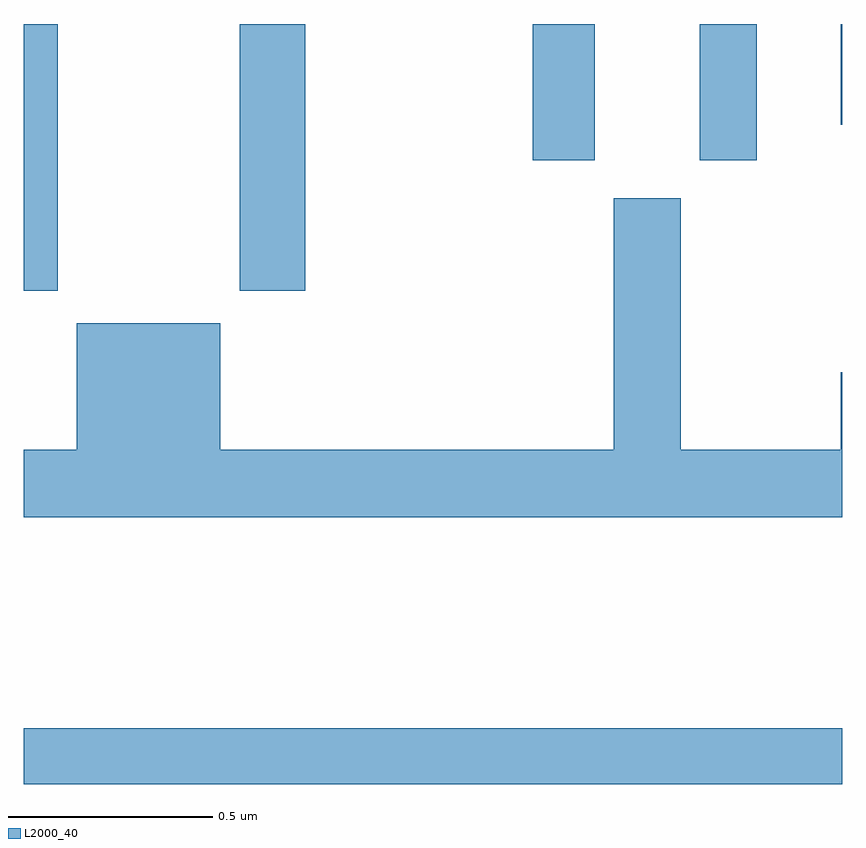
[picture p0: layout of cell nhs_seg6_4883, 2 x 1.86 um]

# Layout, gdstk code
import gdstk
lib = gdstk.Library(unit=1e-6, precision=1e-09)
def R(c, l, rs):  # rectangles x0, y0, x1, y1
    for r in rs: c.add(gdstk.rectangle(r[:2], r[2:], *l))
def P(c, l, *ps):  # polygons
    for p in ps: c.add(gdstk.Polygon(p, *l))
L2000_40 = (2000, 40)

nhs_seg6_4883 = lib.new_cell('nhs_seg6_4883')
R(nhs_seg6_4883, L2000_40, [(175,986.644,177,986.78), (175,987.849,175.083,988.5), (175.528,987.849,175.688,988.5), (176.243,988.167,176.395,988.5), (176.651,988.167,176.791,988.5), (176.996,988.254,177,988.5)])
P(nhs_seg6_4883, L2000_40, [(177,987.649),(176.996,987.649),(176.996,987.46),(176.605,987.46),(176.605,988.075),(176.441,988.075),(176.441,987.46),(175.48,987.46),(175.48,987.769),(175.13,987.769),(175.13,987.46),(175,987.46),(175,987.296),(177,987.296)])

lib.write_gds('nhs_seg6_4883.gds')
